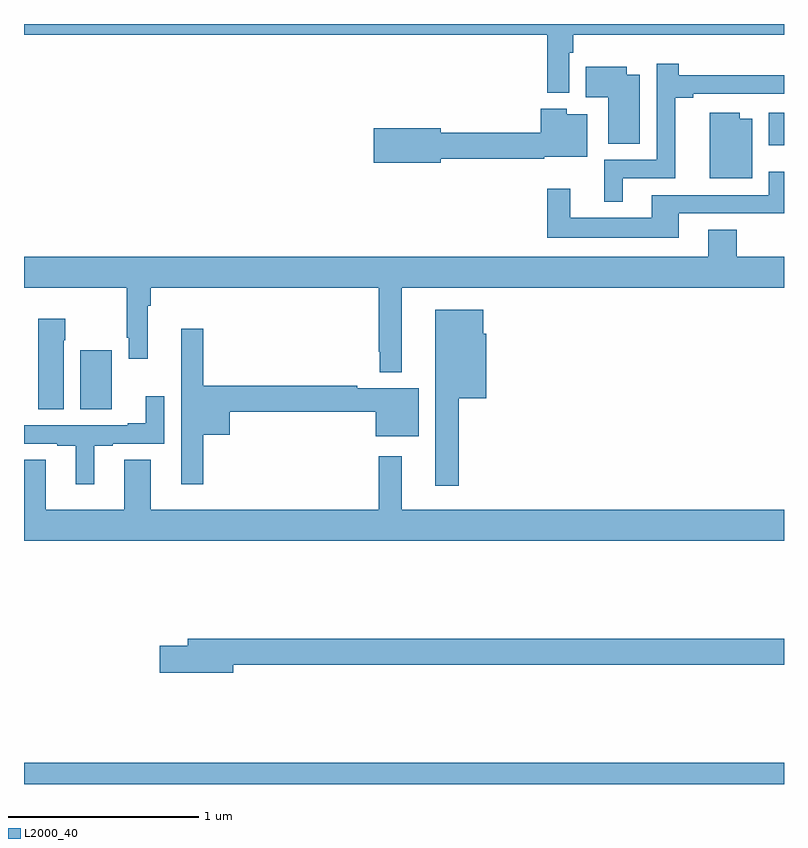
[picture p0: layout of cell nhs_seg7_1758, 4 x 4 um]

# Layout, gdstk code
import gdstk
lib = gdstk.Library(unit=1e-6, precision=1e-09)
def R(c, l, rs):  # rectangles x0, y0, x1, y1
    for r in rs: c.add(gdstk.rectangle(r[:2], r[2:], *l))
def P(c, l, *ps):  # polygons
    for p in ps: c.add(gdstk.Polygon(p, *l))
L2000_40 = (2000, 40)

nhs_seg7_1758 = lib.new_cell('nhs_seg7_1758')
R(nhs_seg7_1758, L2000_40, [(231,1002,235,1002.112), (231.296,1003.972,231.463,1004.284), (234.92,1005.362,235,1005.532)])
P(nhs_seg7_1758, L2000_40, [(233.871,1005.848),(233.891,1005.848),(233.891,1005.944),(235,1005.944),(235,1006),(231,1006),(231,1005.944),(233.755,1005.944),(233.755,1005.638),(233.871,1005.638)],
  [(234.151,1005.189),(234.428,1005.189),(234.428,1005.613),(234.523,1005.613),(234.523,1005.633),(235,1005.633),(235,1005.731),(234.446,1005.731),(234.446,1005.79),(234.33,1005.79),(234.33,1005.285),(234.053,1005.285),(234.053,1005.065),(234.151,1005.065)],
  [(234.241,1005.733),(234.172,1005.733),(234.172,1005.775),(233.956,1005.775),(233.956,1005.614),(234.074,1005.614),(234.074,1005.37),(234.241,1005.37)],
  [(233.194,1005.292),(233.739,1005.292),(233.739,1005.302),(233.965,1005.302),(233.965,1005.526),(233.856,1005.526),(233.856,1005.553),(233.72,1005.553),(233.72,1005.428),(233.194,1005.428),(233.194,1005.452),(232.842,1005.452),(232.842,1005.269),(233.194,1005.269)],
  [(234.832,1005.502),(234.766,1005.502),(234.766,1005.532),(234.608,1005.532),(234.608,1005.188),(234.832,1005.188)],
  [(234.445,1005.003),(235,1005.003),(235,1005.223),(234.921,1005.223),(234.921,1005.099),(234.305,1005.099),(234.305,1004.98),(233.875,1004.98),(233.875,1005.133),(233.754,1005.133),(233.754,1004.876),(234.445,1004.876)],
  [(232.987,1004.612),(235,1004.612),(235,1004.776),(234.75,1004.776),(234.75,1004.918),(234.602,1004.918),(234.602,1004.776),(231,1004.776),(231,1004.612),(231.54,1004.612),(231.54,1004.35),(231.552,1004.35),(231.552,1004.238),(231.65,1004.238),(231.65,1004.516),(231.668,1004.516),(231.668,1004.612),(232.866,1004.612),(232.866,1004.275),(232.872,1004.275),(232.872,1004.168),(232.987,1004.168)],
  [(233.287,1004.03),(233.434,1004.03),(233.434,1004.37),(233.416,1004.37),(233.416,1004.497),(233.165,1004.497),(233.165,1003.569),(233.287,1003.569)],
  [(231.208,1004.336),(231.216,1004.336),(231.216,1004.449),(231.074,1004.449),(231.074,1003.972),(231.208,1003.972)],
  [(231.944,1003.838),(232.084,1003.838),(232.084,1003.96),(232.85,1003.96),(232.85,1003.829),(233.077,1003.829),(233.077,1004.083),(232.754,1004.083),(232.754,1004.096),(231.944,1004.096),(231.944,1004.395),(231.827,1004.395),(231.827,1004.073),(231.828,1004.073),(231.828,1003.578),(231.944,1003.578)],
  [(231.37,1003.779),(231.466,1003.779),(231.466,1003.791),(231.738,1003.791),(231.738,1004.041),(231.641,1004.041),(231.641,1003.9),(231.545,1003.9),(231.545,1003.887),(231,1003.887),(231,1003.791),(231.176,1003.791),(231.176,1003.779),(231.272,1003.779),(231.272,1003.578),(231.37,1003.578)],
  [(235,1003.444),(232.987,1003.444),(232.987,1003.726),(232.866,1003.726),(232.866,1003.444),(231.667,1003.444),(231.667,1003.706),(231.527,1003.706),(231.527,1003.444),(231.115,1003.444),(231.115,1003.706),(231,1003.706),(231,1003.28),(235,1003.28)],
  [(232.102,1002.628),(235,1002.628),(235,1002.764),(231.863,1002.764),(231.863,1002.728),(231.714,1002.728),(231.714,1002.586),(232.102,1002.586)])

lib.write_gds('nhs_seg7_1758.gds')
